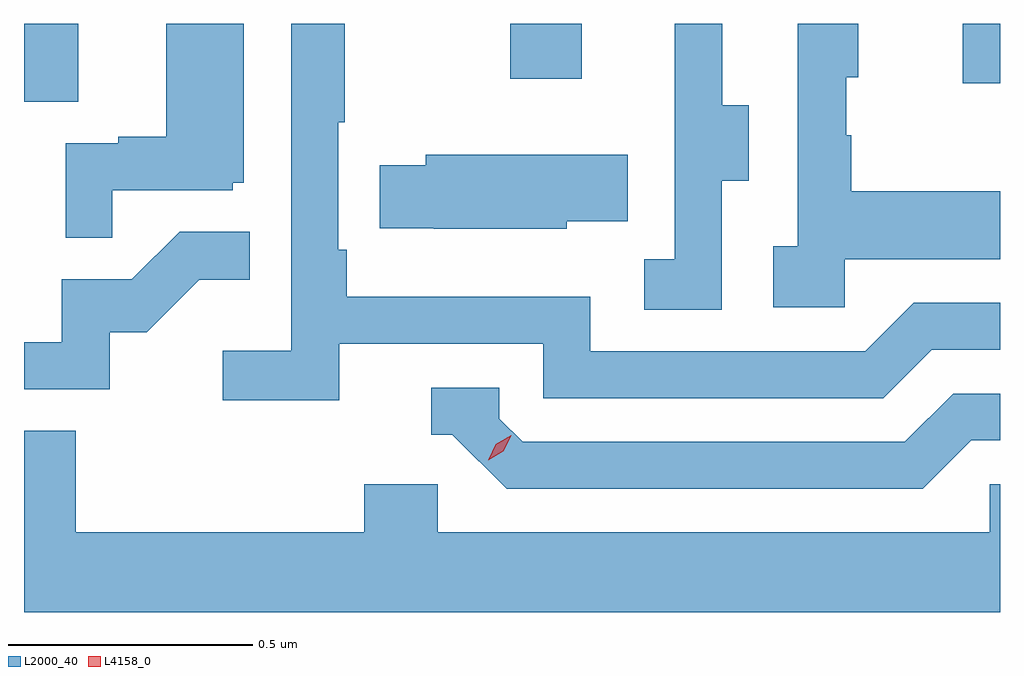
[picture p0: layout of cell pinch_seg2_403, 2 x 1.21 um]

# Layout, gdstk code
import gdstk
lib = gdstk.Library(unit=1e-6, precision=1e-09)
def R(c, l, rs):  # rectangles x0, y0, x1, y1
    for r in rs: c.add(gdstk.rectangle(r[:2], r[2:], *l))
def P(c, l, *ps):  # polygons
    for p in ps: c.add(gdstk.Polygon(p, *l))
L2000_40 = (2000, 40)
L4158_0 = (4158, 0)

pinch_seg2_403 = lib.new_cell('pinch_seg2_403')
R(pinch_seg2_403, L2000_40, [(963.808,614.05,963.919,614.21), (965.732,614.088,965.808,614.21), (964.804,614.097,964.951,614.21)])
P(pinch_seg2_403, L2000_40, [(965.49,613.727),(965.808,613.727),(965.808,613.867),(965.503,613.867),(965.503,613.982),(965.493,613.982),(965.493,614.1),(965.518,614.1),(965.518,614.21),(965.394,614.21),(965.394,613.754),(965.343,613.754),(965.343,613.629),(965.49,613.629)],
  [(965.238,613.888),(965.293,613.888),(965.293,614.043),(965.239,614.043),(965.239,614.21),(965.141,614.21),(965.141,614.031),(965.142,614.031),(965.142,613.727),(965.079,613.727),(965.079,613.624),(965.238,613.624)],
  [(963.989,613.869),(964.236,613.869),(964.236,613.884),(964.258,613.884),(964.258,614.21),(964.1,614.21),(964.1,613.978),(964.001,613.978),(964.001,613.965),(963.894,613.965),(963.894,613.771),(963.989,613.771)],
  [(964.454,613.554),(964.872,613.554),(964.872,613.443),(965.569,613.443),(965.668,613.542),(965.808,613.542),(965.808,613.638),(965.631,613.638),(965.532,613.539),(964.968,613.539),(964.968,613.651),(964.469,613.651),(964.469,613.747),(964.452,613.747),(964.452,614.008),(964.465,614.008),(964.465,614.21),(964.356,614.21),(964.356,613.54),(964.215,613.54),(964.215,613.438),(964.454,613.438)],
  [(964.92,613.805),(965.045,613.805),(965.045,613.942),(964.631,613.942),(964.631,613.92),(964.537,613.92),(964.537,613.791),(964.648,613.791),(964.648,613.79),(964.92,613.79)],
  [(963.984,613.578),(964.06,613.578),(964.167,613.685),(964.271,613.685),(964.271,613.784),(964.127,613.784),(964.029,613.686),(963.885,613.686),(963.885,613.557),(963.808,613.557),(963.808,613.461),(963.984,613.461)],
  [(965.749,613.356),(965.808,613.356),(965.808,613.452),(965.712,613.452),(965.613,613.353),(964.83,613.353),(964.782,613.401),(964.782,613.464),(964.643,613.464),(964.643,613.368),(964.686,613.368),(964.797,613.257),(965.65,613.257)],
  [(965.808,613.266),(965.787,613.266),(965.787,613.168),(964.656,613.168),(964.656,613.266),(964.505,613.266),(964.505,613.168),(963.914,613.168),(963.914,613.376),(963.808,613.376),(963.808,613.004),(965.808,613.004)])
P(pinch_seg2_403, L4158_0, [(964.759,613.315),(964.759,613.315),(964.775,613.348),(964.806,613.367),(964.806,613.367),(964.806,613.366),(964.79,613.334),(964.759,613.315)])

lib.write_gds('pinch_seg2_403.gds')
